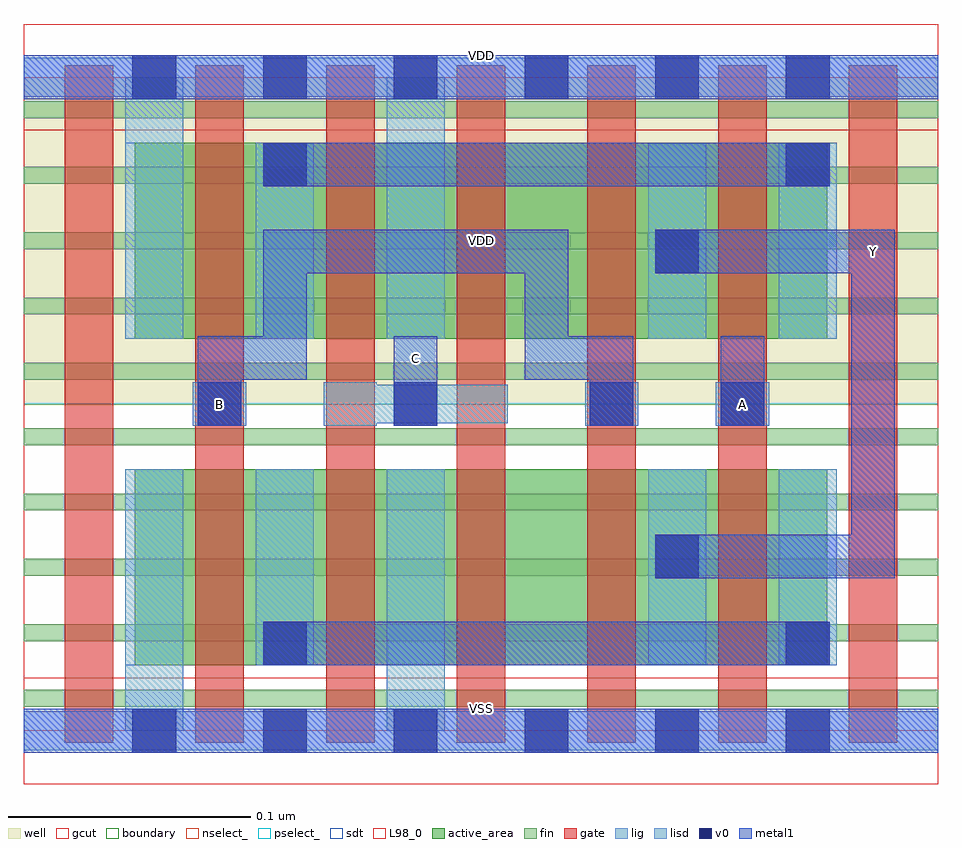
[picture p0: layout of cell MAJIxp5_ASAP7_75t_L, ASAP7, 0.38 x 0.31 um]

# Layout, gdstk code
import gdstk
lib = gdstk.Library(unit=1e-6, precision=2.5e-10)
def R(c, l, rs):  # rectangles x0, y0, x1, y1
    for r in rs: c.add(gdstk.rectangle(r[:2], r[2:], *l))
def A(c, l, x, y, w, h, nx, ny, dx, dy):  # array of equal rectangles
    R(c, l, [(x+i*dx, y+j*dy, x+i*dx+w, y+j*dy+h) for i in range(nx) for j in range(ny)])
def P(c, l, *ps):  # polygons
    for p in ps: c.add(gdstk.Polygon(p, *l))
well = (1, 0)
fin = (2, 0)
gate = (7, 0)
gcut = (10, 0)
active_area = (11, 0)
nselect_ = (12, 0)
pselect_ = (13, 0)
lig = (16, 0)
lisd = (17, 0)
v0 = (18, 0)
metal1 = (19, 0)
sdt = (88, 0)
L98_0 = (98, 0)
boundary = (100, 0)

majixp5_asap7_75t_l = lib.new_cell('MAJIxp5_ASAP7_75t_L')
R(majixp5_asap7_75t_l, well, [(0,0.135,0.378,0.27)])
A(majixp5_asap7_75t_l, fin, 0, 0.01, 0.378, 0.007, 1, 10, 0, 0.027)
A(majixp5_asap7_75t_l, gate, 0.017, -0.005, 0.02, 0.28, 7, 1, 0.054, 0)
R(majixp5_asap7_75t_l, gcut, [(0,-0.022,0.378,0.022), (0,0.248,0.378,0.292)])
R(majixp5_asap7_75t_l, active_area, [(0.046,0.027,0.332,0.108), (0.046,0.162,0.332,0.243)])
R(majixp5_asap7_75t_l, nselect_, [(0,0,0.378,0.135)])
R(majixp5_asap7_75t_l, pselect_, [(0,0.135,0.378,0.27)])
R(majixp5_asap7_75t_l, lig, [(0,-0.008,0.378,0.008), (0.07,0.126,0.092,0.144), (0.124,0.126,0.146,0.144), (0.232,0.126,0.254,0.144), (0.286,0.126,0.308,0.144), (0.124,0.127,0.2,0.143), (0,0.262,0.378,0.278)])
R(majixp5_asap7_75t_l, lisd, [(0.042,0,0.066,0.108), (0.042,0,0.066,0.108), (0.15,0,0.174,0.108), (0.15,0,0.174,0.108), (0.096,0.027,0.12,0.108), (0.258,0.027,0.282,0.108), (0.312,0.027,0.336,0.108), (0.042,0.162,0.066,0.27), (0.042,0.162,0.066,0.27), (0.096,0.162,0.12,0.243), (0.15,0.162,0.174,0.27), (0.15,0.162,0.174,0.27), (0.258,0.162,0.282,0.243), (0.312,0.162,0.336,0.243)])
A(majixp5_asap7_75t_l, v0, 0.045, -0.009, 0.018, 0.018, 6, 2, 0.054, 0.27)
A(majixp5_asap7_75t_l, v0, 0.072, 0.126, 0.018, 0.018, 3, 1, 0.081, 0)
R(majixp5_asap7_75t_l, v0, [(0.099,0.027,0.117,0.045), (0.315,0.027,0.333,0.045), (0.261,0.063,0.279,0.081), (0.288,0.126,0.306,0.144), (0.261,0.189,0.279,0.207), (0.099,0.225,0.117,0.243), (0.315,0.225,0.333,0.243)])
A(majixp5_asap7_75t_l, metal1, 0.072, 0.126, 0.018, 0.018, 3, 1, 0.081, 0)
R(majixp5_asap7_75t_l, metal1, [(0,-0.009,0.378,0.009), (0.099,0.027,0.117,0.045), (0.099,0.027,0.333,0.045), (0.315,0.027,0.333,0.045), (0.261,0.063,0.279,0.081), (0.153,0.126,0.171,0.163), (0.288,0.126,0.306,0.144), (0.288,0.126,0.306,0.163), (0.261,0.189,0.279,0.207), (0.099,0.225,0.117,0.243), (0.099,0.225,0.333,0.243), (0.315,0.225,0.333,0.243), (0,0.261,0.378,0.279)])
P(majixp5_asap7_75t_l, metal1, [(0.234,0.126),(0.252,0.126),(0.252,0.163),(0.225,0.163),(0.225,0.207),(0.099,0.207),(0.099,0.163),(0.072,0.163),(0.072,0.126),(0.09,0.126),(0.09,0.145),(0.117,0.145),(0.117,0.189),(0.207,0.189),(0.207,0.145),(0.234,0.145)],
  [(0.261,0.207),(0.261,0.189),(0.342,0.189),(0.342,0.081),(0.261,0.081),(0.261,0.063),(0.36,0.063),(0.36,0.207)])
A(majixp5_asap7_75t_l, sdt, 0.042, 0.027, 0.024, 0.081, 3, 2, 0.054, 0.135)
R(majixp5_asap7_75t_l, sdt, [(0.042,0.027,0.066,0.108), (0.15,0.027,0.174,0.108), (0.258,0.027,0.282,0.108), (0.312,0.027,0.336,0.108), (0.042,0.162,0.066,0.243), (0.15,0.162,0.174,0.243), (0.258,0.162,0.282,0.243), (0.312,0.162,0.336,0.243)])
R(majixp5_asap7_75t_l, L98_0, [(0,0,0.378,0.27)])
R(majixp5_asap7_75t_l, boundary, [(0,0,0.378,0.27)])
majixp5_asap7_75t_l.add(gdstk.Label('VDD', (0.189,0.2025), layer=1, texttype=251))
majixp5_asap7_75t_l.add(gdstk.Label('VSS', (0.189,-0.0675), layer=3, texttype=251))
majixp5_asap7_75t_l.add(gdstk.Label('VSS', (0.189,0.009), layer=19, texttype=251))
majixp5_asap7_75t_l.add(gdstk.Label('VDD', (0.189,0.279), layer=19, texttype=251))
majixp5_asap7_75t_l.add(gdstk.Label('B', (0.081,0.135), layer=19, texttype=251))
majixp5_asap7_75t_l.add(gdstk.Label('C', (0.162,0.154), layer=19, texttype=251))
majixp5_asap7_75t_l.add(gdstk.Label('Y', (0.351,0.198), layer=19, texttype=251))
majixp5_asap7_75t_l.add(gdstk.Label('A', (0.297,0.135), layer=19, texttype=251))

lib.write_gds('MAJIxp5_ASAP7_75t_L.gds')
